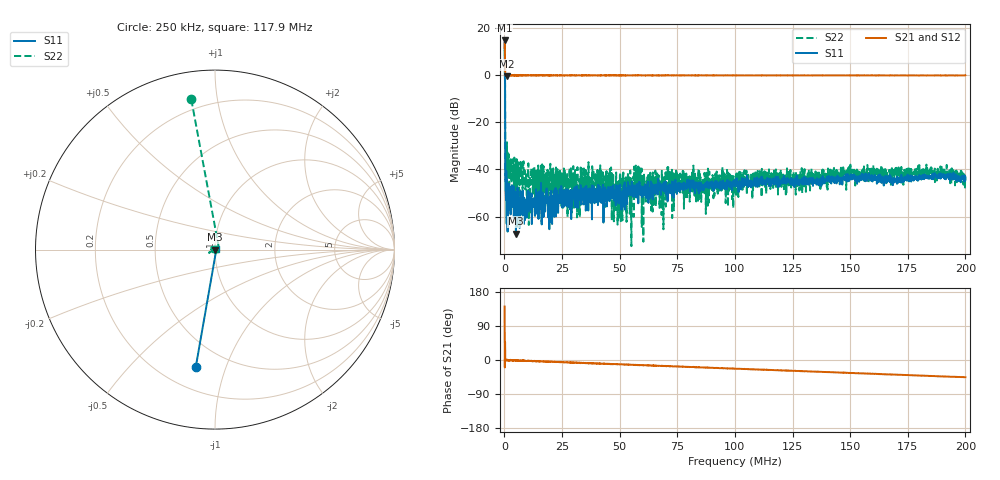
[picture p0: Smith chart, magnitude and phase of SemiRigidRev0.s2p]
! 19-Feb-26 1:39:51 PM
! E:\VNA_MEASUREMENTS\RECBLOCK\SEMIRIGIDREV0.S2P
! CHANNEL.1
! TR.MEASUREMENT
! CORRECTED.DATA
# GHZ S RI R 50.0
! FREQ.GHZ  S11RE  S11IM  S21RE  S21IM  S12RE  S12IM  S22RE  S22IM
!; PortSelection: Port_12
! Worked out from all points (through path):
!   2000 points, 50 kHz to 200 MHz, reference 50 ohm
!   highest |S21| = 14.80 dB at 150 kHz (marker M1); lowest = -0.4 dB at 1.05 MHz (marker M2)
!   lowest |S11| = -67.2 dB at 4.951 MHz (marker M3), VSWR 1.00, Z = 50 + j0.0111 ohm
!   |S11| at or under -10 dB: 266.4 kHz to end of sweep
!   |S22| runs from -72.6 to 11.0 dB; largest |S21 - S12| = 4.9
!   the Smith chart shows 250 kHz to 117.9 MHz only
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5e-05  -3.251 3.581  -2.993 2.424  -2.111 -1.92  -2.335 -2.647
0.000150025  0.3419 0.9208  5.181 -1.838  0.9543 0.7227  3.408 0.0112
0.00105025  -0.00616 -0.000627  0.9522 -0.0326  0.9916 -0.00663  -0.0337 -0.0179
0.001150275  0.00234 -0.00193  1.009 0.000123  0.9984 -0.00885  0.00627 0.00297
0.00145035  0.000905 -0.00302  1.009 -0.00295  1.011 -0.00886  0.00809 0.00161
0.004951226  0.000422 0.000111  0.9989 -0.0238  1.001 -0.0229  -0.00038 -0.00144
0.007851951  -0.00101 -0.000325  1.003 -0.0353  0.9992 -0.0332  0.00205 -0.00245
0.009952476  0.000522 0.00142  0.9971 -0.0354  0.9973 -0.0392  0.00234 0.00445
0.0196549  0.00124 0.000734  0.9932 -0.0832  0.9966 -0.0759  -0.00135 0.00371
0.0288572  0.00269 0.00063  0.9838 -0.1257  0.9947 -0.1162  -0.000725 0.0111
0.03175793  0.00234 0.00194  0.9892 -0.1294  0.9929 -0.1261  0.00127 0.00453
0.03345835  0.000832 0.00353  0.9964 -0.1304  0.99 -0.1336  -0.000963 -0.00153
0.04626156  0.000967 0.00282  0.9965 -0.1862  0.9818 -0.183  -0.00641 0.00901
0.05026256  0.0012 0.00296  0.9837 -0.2014  0.9784 -0.198  0.000341 0.00667
0.05506376  0.0038 0.00161  0.971 -0.2128  0.9737 -0.2161  -0.000187 0.000143
0.05796448  0.00284 0.00382  0.968 -0.2294  0.97 -0.2323  0.00322 0.00167
0.06056513  0.00203 0.00341  0.9723 -0.2448  0.9708 -0.2384  0.0059 0.00565
0.06676668  0.00274 0.00316  0.9622 -0.2656  0.9617 -0.2627  0.00386 0.00259
0.100075  0.00371 0.00323  0.9181 -0.3877  0.9201 -0.3882  0.00385 0.00445
0.1333833  0.00439 0.00275  0.8601 -0.504  0.8599 -0.5043  0.00545 0.00451
0.1666917  0.00501 0.00389  0.7867 -0.6139  0.7809 -0.6112  0.00695 0.00379
0.2  0.00572 0.00202  0.7024 -0.7132  0.6954 -0.7063  0.00337 0.00501
